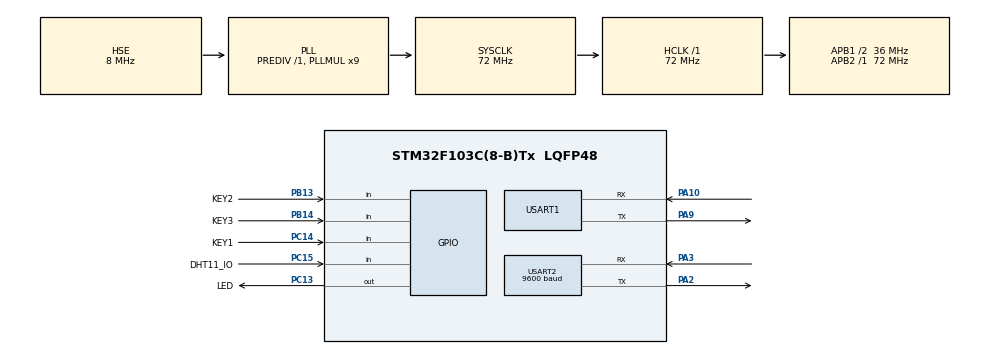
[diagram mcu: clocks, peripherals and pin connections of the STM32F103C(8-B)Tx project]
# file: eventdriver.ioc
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Dma.Request0=USART2_RX
Dma.USART2_RX.0.Direction=DMA_PERIPH_TO_MEMORY
Dma.USART2_RX.0.Instance=DMA1_Channel6
Dma.USART2_RX.0.MemDataAlignment=DMA_MDATAALIGN_BYTE
Dma.USART2_RX.0.MemInc=DMA_MINC_ENABLE
Dma.USART2_RX.0.Mode=DMA_NORMAL
Dma.USART2_RX.0.PeriphDataAlignment=DMA_PDATAALIGN_BYTE
Dma.USART2_RX.0.PeriphInc=DMA_PINC_DISABLE
Dma.USART2_RX.0.Priority=DMA_PRIORITY_LOW
Mcu.Family=STM32F1
Mcu.Name=STM32F103C(8-B)Tx
Mcu.Package=LQFP48
NVIC.DMA1_Channel6_IRQn=true\:0\:0\:false\:false\:true\:false\:true\:true
NVIC.PriorityGroup=NVIC_PRIORITYGROUP_1
NVIC.USART1_IRQn=true\:0\:0\:false\:false\:true\:true\:true\:true
NVIC.USART2_IRQn=true\:0\:0\:false\:false\:true\:true\:true\:true
PA10.Mode=Asynchronous
PA10.Signal=USART1_RX
PA13.Mode=Serial_Wire
PA13.Signal=SYS_JTMS-SWDIO
PA14.Mode=Serial_Wire
PA14.Signal=SYS_JTCK-SWCLK
PA2.Mode=Asynchronous
PA2.Signal=USART2_TX
PA3.Mode=Asynchronous
PA3.Signal=USART2_RX
PA9.Mode=Asynchronous
PA9.Signal=USART1_TX
PB13.GPIO_Label=KEY2
PB13.GPIO_PuPd=GPIO_PULLUP
PB13.Signal=GPIO_Input
PB14.GPIO_Label=KEY3
PB14.GPIO_PuPd=GPIO_PULLUP
PB14.Signal=GPIO_Input
PC13-TAMPER-RTC.GPIO_Label=LED
PC13-TAMPER-RTC.PinState=GPIO_PIN_SET
PC13-TAMPER-RTC.Signal=GPIO_Output
PC14-OSC32_IN.GPIO_Label=KEY1
PC14-OSC32_IN.GPIO_PuPd=GPIO_PULLUP
PC14-OSC32_IN.Signal=GPIO_Input
PC15-OSC32_OUT.GPIO_Label=DHT11_IO
PC15-OSC32_OUT.GPIO_PuPd=GPIO_PULLUP
PC15-OSC32_OUT.Signal=GPIO_Input
PD0-OSC_IN.Mode=HSE-External-Oscillator
PD0-OSC_IN.Signal=RCC_OSC_IN
PD1-OSC_OUT.Mode=HSE-External-Oscillator
PD1-OSC_OUT.Signal=RCC_OSC_OUT
ProjectManager.HeapSize=0x200
ProjectManager.StackSize=0x400
ProjectManager.TargetToolchain=MDK-ARM V5.32
RCC.AHBFreq_Value=72000000
RCC.APB1CLKDivider=RCC_HCLK_DIV2
RCC.APB1Freq_Value=36000000
RCC.APB1TimFreq_Value=72000000
RCC.APB2Freq_Value=72000000
RCC.APB2TimFreq_Value=72000000
RCC.HCLKFreq_Value=72000000
RCC.PLLMUL=RCC_PLL_MUL9
RCC.PLLSourceVirtual=RCC_PLLSOURCE_HSE
RCC.SYSCLKFreq_VALUE=72000000
RCC.SYSCLKSource=RCC_SYSCLKSOURCE_PLLCLK
RCC.USBFreq_Value=72000000
TIM4.Prescaler=71
USART1.VirtualMode=VM_ASYNC
USART2.BaudRate=9600
USART2.VirtualMode=VM_ASYNC
VP_TIM4_VS_ClockSourceINT.Mode=Internal
board=custom

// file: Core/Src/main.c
/* USER CODE BEGIN Header */
/**
  ******************************************************************************
  * @file           : main.c
  * @brief          : Main program body
  ******************************************************************************
  * @attention
  *
  * Copyright (c) 2023 STMicroelectronics.
  * All rights reserved.
  *
  * This software is licensed under terms that can be found in the LICENSE file
  * in the root directory of this software component.
  * If no LICENSE file comes with this software, it is provided AS-IS.
  *
  ******************************************************************************
  */
/* USER CODE END Header */
#include "main.h"

/* USER CODE BEGIN Includes */
#include <stdio.h>
#include "elog.h"
#include "vmsgexec.h"
#include "dyn_mem.h"
#include "app.h"
/* USER CODE END Includes */

TIM_HandleTypeDef htim4;

UART_HandleTypeDef huart1;
UART_HandleTypeDef huart2;
DMA_HandleTypeDef hdma_usart2_rx;

void SystemClock_Config(void);
static void MX_GPIO_Init(void);
static void MX_DMA_Init(void);
static void MX_USART1_UART_Init(void);
static void MX_TIM4_Init(void);
static void MX_USART2_UART_Init(void);

/* USER CODE BEGIN 0 */

int fputc(int ch, FILE *f)
{
    //采用轮询方式发�??1字节数据，超时时间设置为无限等待
    HAL_UART_Transmit(&huart1, (uint8_t *)&ch, 1, 10);

    return ch;
}

/* USER CODE END 0 */

int main(void)
{

    /* MCU Configuration--------------------------------------------------------*/

    /* Reset of all peripherals, Initializes the Flash interface and the Systick. */
    HAL_Init();

    /* USER CODE BEGIN Init */
    osKernelInitialize();
    /* USER CODE END Init */

    /* Configure the system clock */
    SystemClock_Config();

    /* Initialize all configured peripherals */
    MX_GPIO_Init();
    MX_DMA_Init();
    MX_USART1_UART_Init();
    MX_TIM4_Init();
    MX_USART2_UART_Init();
    /* USER CODE BEGIN 2 */
    elog_init();

    dm_init();
    msgexec_init();
    vwm_timer_init();
    log_i("Wireless Access System Init OK!");

    app_init();
    osKernelStart();
    /* USER CODE END 2 */

    /* Infinite loop */
    /* USER CODE BEGIN WHILE */
    while (1) {
        msgexec_exec();
        /* USER CODE END WHILE */

    }
}

void SystemClock_Config(void)
{
    RCC_OscInitTypeDef RCC_OscInitStruct = { 0 };
    RCC_ClkInitTypeDef RCC_ClkInitStruct = { 0 };

    /** Initializes the RCC Oscillators according to the specified parameters
  * in the RCC_OscInitTypeDef structure.
  */
    RCC_OscInitStruct.OscillatorType = RCC_OSCILLATORTYPE_HSE;
    RCC_OscInitStruct.HSEState = RCC_HSE_ON;
    RCC_OscInitStruct.HSEPredivValue = RCC_HSE_PREDIV_DIV1;
    RCC_OscInitStruct.HSIState = RCC_HSI_ON;
    RCC_OscInitStruct.PLL.PLLState = RCC_PLL_ON;
    RCC_OscInitStruct.PLL.PLLSource = RCC_PLLSOURCE_HSE;
    RCC_OscInitStruct.PLL.PLLMUL = RCC_PLL_MUL9;
    if (HAL_RCC_OscConfig(&RCC_OscInitStruct) != HAL_OK) {
        Error_Handler();
    }

    /** Initializes the CPU, AHB and APB buses clocks
  */
    RCC_ClkInitStruct.ClockType = RCC_CLOCKTYPE_HCLK | RCC_CLOCKTYPE_SYSCLK | RCC_CLOCKTYPE_PCLK1 | RCC_CLOCKTYPE_PCLK2;
    RCC_ClkInitStruct.SYSCLKSource = RCC_SYSCLKSOURCE_PLLCLK;
    RCC_ClkInitStruct.AHBCLKDivider = RCC_SYSCLK_DIV1;
    RCC_ClkInitStruct.APB1CLKDivider = RCC_HCLK_DIV2;
    RCC_ClkInitStruct.APB2CLKDivider = RCC_HCLK_DIV1;

    if (HAL_RCC_ClockConfig(&RCC_ClkInitStruct, FLASH_LATENCY_2) != HAL_OK) {
        Error_Handler();
    }
}

static void MX_TIM4_Init(void)
{

    TIM_ClockConfigTypeDef sClockSourceConfig = { 0 };
    TIM_MasterConfigTypeDef sMasterConfig = { 0 };

    htim4.Instance = TIM4;
    htim4.Init.Prescaler = 71;
    htim4.Init.CounterMode = TIM_COUNTERMODE_UP;
    htim4.Init.Period = 65535;
    htim4.Init.ClockDivision = TIM_CLOCKDIVISION_DIV1;
    htim4.Init.AutoReloadPreload = TIM_AUTORELOAD_PRELOAD_DISABLE;
    if (HAL_TIM_Base_Init(&htim4) != HAL_OK) {
        Error_Handler();
    }
    sClockSourceConfig.ClockSource = TIM_CLOCKSOURCE_INTERNAL;
    if (HAL_TIM_ConfigClockSource(&htim4, &sClockSourceConfig) != HAL_OK) {
        Error_Handler();
    }
    sMasterConfig.MasterOutputTrigger = TIM_TRGO_RESET;
    sMasterConfig.MasterSlaveMode = TIM_MASTERSLAVEMODE_DISABLE;
    if (HAL_TIMEx_MasterConfigSynchronization(&htim4, &sMasterConfig) != HAL_OK) {
        Error_Handler();
    }
}

static void MX_USART1_UART_Init(void)
{

    huart1.Instance = USART1;
    huart1.Init.BaudRate = 115200;
    huart1.Init.WordLength = UART_WORDLENGTH_8B;
    huart1.Init.StopBits = UART_STOPBITS_1;
    huart1.Init.Parity = UART_PARITY_NONE;
    huart1.Init.Mode = UART_MODE_TX_RX;
    huart1.Init.HwFlowCtl = UART_HWCONTROL_NONE;
    huart1.Init.OverSampling = UART_OVERSAMPLING_16;
    if (HAL_UART_Init(&huart1) != HAL_OK) {
        Error_Handler();
    }
}

static void MX_USART2_UART_Init(void)
{

    huart2.Instance = USART2;
    huart2.Init.BaudRate = 9600;
    huart2.Init.WordLength = UART_WORDLENGTH_8B;
    huart2.Init.StopBits = UART_STOPBITS_1;
    huart2.Init.Parity = UART_PARITY_NONE;
    huart2.Init.Mode = UART_MODE_TX_RX;
    huart2.Init.HwFlowCtl = UART_HWCONTROL_NONE;
    huart2.Init.OverSampling = UART_OVERSAMPLING_16;
    if (HAL_UART_Init(&huart2) != HAL_OK) {
        Error_Handler();
    }
}

static void MX_DMA_Init(void)
{
    /* DMA controller clock enable */
    __HAL_RCC_DMA1_CLK_ENABLE();

    /* DMA interrupt init */
    /* DMA1_Channel6_IRQn interrupt configuration */
    HAL_NVIC_SetPriority(DMA1_Channel6_IRQn, 0, 0);
    HAL_NVIC_EnableIRQ(DMA1_Channel6_IRQn);
}

static void MX_GPIO_Init(void)
{
    GPIO_InitTypeDef GPIO_InitStruct = { 0 };

    /* GPIO Ports Clock Enable */
    __HAL_RCC_GPIOC_CLK_ENABLE();
    __HAL_RCC_GPIOD_CLK_ENABLE();
    __HAL_RCC_GPIOA_CLK_ENABLE();
    __HAL_RCC_GPIOB_CLK_ENABLE();

    /*Configure GPIO pin Output Level */
    HAL_GPIO_WritePin(LED_GPIO_Port, LED_Pin, GPIO_PIN_SET);

    /*Configure GPIO pin : LED_Pin */
    GPIO_InitStruct.Pin = LED_Pin;
    GPIO_InitStruct.Mode = GPIO_MODE_OUTPUT_PP;
    GPIO_InitStruct.Pull = GPIO_NOPULL;
    GPIO_InitStruct.Speed = GPIO_SPEED_FREQ_LOW;
    HAL_GPIO_Init(LED_GPIO_Port, &GPIO_InitStruct);

    /*Configure GPIO pins : KEY1_Pin DHT11_IO_Pin */
    GPIO_InitStruct.Pin = KEY1_Pin | DHT11_IO_Pin;
    GPIO_InitStruct.Mode = GPIO_MODE_INPUT;
    GPIO_InitStruct.Pull = GPIO_PULLUP;
    HAL_GPIO_Init(GPIOC, &GPIO_InitStruct);

    /*Configure GPIO pins : KEY2_Pin KEY3_Pin */
    GPIO_InitStruct.Pin = KEY2_Pin | KEY3_Pin;
    GPIO_InitStruct.Mode = GPIO_MODE_INPUT;
    GPIO_InitStruct.Pull = GPIO_PULLUP;
    HAL_GPIO_Init(GPIOB, &GPIO_InitStruct);

}

void Error_Handler(void)
{
    __disable_irq();
    while (1) {
    }
}
